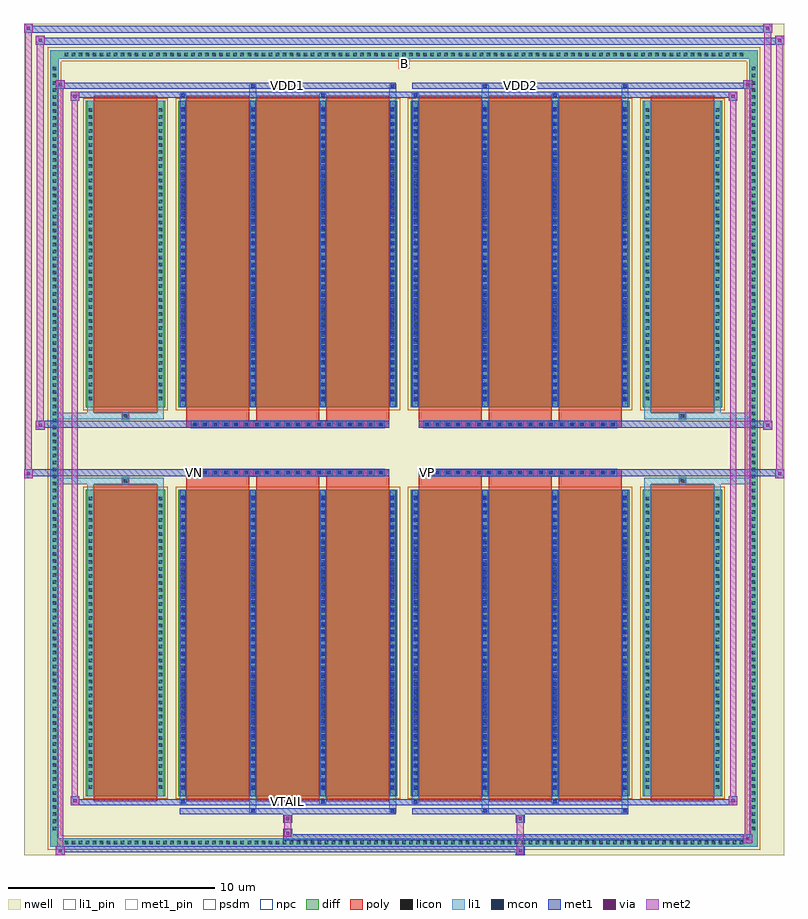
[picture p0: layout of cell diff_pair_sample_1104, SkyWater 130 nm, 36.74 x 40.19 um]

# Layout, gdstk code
import gdstk
lib = gdstk.Library(unit=1e-6, precision=5e-09)
def R(c, l, rs):  # rectangles x0, y0, x1, y1
    for r in rs: c.add(gdstk.rectangle(r[:2], r[2:], *l))
def A(c, l, x, y, w, h, nx, ny, dx, dy):  # array of equal rectangles
    R(c, l, [(x+i*dx, y+j*dy, x+i*dx+w, y+j*dy+h) for i in range(nx) for j in range(ny)])
def P(c, l, *ps):  # polygons
    for p in ps: c.add(gdstk.Polygon(p, *l))
nwell = (64, 20)
diff = (65, 20)
poly = (66, 20)
licon = (66, 44)
li1_pin = (67, 16)
li1 = (67, 20)
mcon = (67, 44)
met1_pin = (68, 16)
met1 = (68, 20)
via = (68, 44)
met2 = (69, 20)
psdm = (94, 20)
npc = (95, 20)

diff_pair_sample_1104 = lib.new_cell('diff_pair_sample_1104')
R(diff_pair_sample_1104, nwell, [(-18.37,-19.66,18.37,20.53), (-15.69,-17.85,-0.01,-0.805), (0.01,-17.85,15.69,-0.805), (-15.69,0.805,-0.01,17.85), (0.01,0.805,15.69,17.85)])
A(diff_pair_sample_1104, diff, -16.525, -19.26, 0.41, 0.41, 97, 2, 0.34, 38.11)
A(diff_pair_sample_1104, diff, -17.1, -18.565, 0.41, 0.41, 1, 109, 0, 0.34)
A(diff_pair_sample_1104, diff, 16.69, -18.565, 0.41, 0.41, 1, 109, 0, 0.34)
R(diff_pair_sample_1104, diff, [(-16.525,-19.26,16.525,-18.85), (-17.1,-18.565,-16.69,18.565), (16.69,-18.565,17.1,18.565), (-15.38,-16.805,-11.55,-1.985), (-10.91,-16.805,-0.32,-1.985), (0.32,-16.805,10.91,-1.985), (11.55,-16.805,15.38,-1.985), (-15.38,1.985,-11.55,16.805), (-10.91,1.985,-0.32,16.805), (0.32,1.985,10.91,16.805), (11.55,1.985,15.38,16.805), (-16.525,18.85,16.525,19.26)])
P(diff_pair_sample_1104, diff, [(17.1,19.26),(-17.1,19.26),(-17.1,-18.85),(-16.69,-18.85),(-16.69,18.85),(16.69,18.85),(16.69,-18.85),(-16.69,-18.85),(-17.1,-18.85),(-17.1,-19.26),(17.1,-19.26)])
A(diff_pair_sample_1104, poly, -10.52, -17.055, 3.05, 15.32, 3, 2, 3.38, 18.79)
A(diff_pair_sample_1104, poly, 0.71, -17.055, 3.05, 15.32, 3, 2, 3.38, 18.79)
A(diff_pair_sample_1104, poly, -10.52, -1.735, 3.05, 0.4, 3, 2, 3.38, 3.07)
A(diff_pair_sample_1104, poly, 0.71, -1.735, 3.05, 0.4, 3, 2, 3.38, 3.07)
A(diff_pair_sample_1104, poly, -10.28, -1.335, 0.33, 0.33, 19, 2, 0.5, 2.34)
A(diff_pair_sample_1104, poly, 0.95, -1.335, 0.33, 0.33, 19, 2, 0.5, 2.34)
R(diff_pair_sample_1104, poly, [(-14.99,-17.055,-11.94,-1.735), (11.94,-17.055,14.99,-1.735), (-13.63,-1.735,-13.3,-1.405), (-13.63,-1.735,-13.3,-1.405), (13.3,-1.735,13.63,-1.405), (13.3,-1.735,13.63,-1.405), (-10.52,-1.335,-0.71,-1.005), (0.71,-1.335,10.52,-1.005), (-10.52,1.005,-0.71,1.335), (0.71,1.005,10.52,1.335), (-13.63,1.405,-13.3,1.735), (-13.63,1.405,-13.3,1.735), (13.3,1.405,13.63,1.735), (13.3,1.405,13.63,1.735), (-14.99,1.735,-11.94,17.055), (11.94,1.735,14.99,17.055)])
A(diff_pair_sample_1104, licon, -16.405, -19.14, 0.17, 0.17, 97, 2, 0.34, 38.11)
A(diff_pair_sample_1104, licon, -16.98, -18.445, 0.17, 0.17, 1, 109, 0, 0.34)
A(diff_pair_sample_1104, licon, 16.81, -18.445, 0.17, 0.17, 1, 109, 0, 0.34)
A(diff_pair_sample_1104, licon, -15.24, -16.45, 0.17, 0.17, 1, 42, 0, 0.34)
A(diff_pair_sample_1104, licon, -11.86, -16.45, 0.17, 0.17, 1, 42, 0, 0.34)
A(diff_pair_sample_1104, licon, -10.77, -16.45, 0.17, 0.17, 4, 42, 3.38, 0.34)
A(diff_pair_sample_1104, licon, 0.46, -16.45, 0.17, 0.17, 4, 42, 3.38, 0.34)
A(diff_pair_sample_1104, licon, 11.69, -16.45, 0.17, 0.17, 1, 42, 0, 0.34)
A(diff_pair_sample_1104, licon, 15.07, -16.45, 0.17, 0.17, 1, 42, 0, 0.34)
A(diff_pair_sample_1104, licon, -10.2, -1.255, 0.17, 0.17, 19, 2, 0.5, 2.34)
A(diff_pair_sample_1104, licon, 1.03, -1.255, 0.17, 0.17, 19, 2, 0.5, 2.34)
A(diff_pair_sample_1104, licon, -15.24, 2.34, 0.17, 0.17, 1, 42, 0, 0.34)
A(diff_pair_sample_1104, licon, -11.86, 2.34, 0.17, 0.17, 1, 42, 0, 0.34)
A(diff_pair_sample_1104, licon, -10.77, 2.34, 0.17, 0.17, 4, 42, 3.38, 0.34)
A(diff_pair_sample_1104, licon, 0.46, 2.34, 0.17, 0.17, 4, 42, 3.38, 0.34)
A(diff_pair_sample_1104, licon, 11.69, 2.34, 0.17, 0.17, 1, 42, 0, 0.34)
A(diff_pair_sample_1104, licon, 15.07, 2.34, 0.17, 0.17, 1, 42, 0, 0.34)
R(diff_pair_sample_1104, licon, [(-13.55,-1.655,-13.38,-1.485), (13.38,-1.655,13.55,-1.485), (-13.55,1.485,-13.38,1.655), (13.38,1.485,13.55,1.655)])
R(diff_pair_sample_1104, li1_pin, [(-0.25,18.35,0.25,18.85)])
A(diff_pair_sample_1104, li1, -16.485, -19.22, 0.33, 0.33, 97, 2, 0.34, 38.11)
A(diff_pair_sample_1104, li1, -17.06, -18.525, 0.33, 0.33, 1, 109, 0, 0.34)
A(diff_pair_sample_1104, li1, 16.73, -18.525, 0.33, 0.33, 1, 109, 0, 0.34)
A(diff_pair_sample_1104, li1, -10.85, -16.805, 0.33, 14.82, 4, 2, 3.38, 18.79)
A(diff_pair_sample_1104, li1, 0.38, -16.805, 0.33, 14.82, 4, 2, 3.38, 18.79)
A(diff_pair_sample_1104, li1, -15.32, -16.53, 0.33, 0.33, 1, 42, 0, 0.34)
A(diff_pair_sample_1104, li1, -11.94, -16.53, 0.33, 0.33, 1, 42, 0, 0.34)
A(diff_pair_sample_1104, li1, -10.85, -16.53, 0.33, 0.33, 4, 42, 3.38, 0.34)
A(diff_pair_sample_1104, li1, 0.38, -16.53, 0.33, 0.33, 4, 42, 3.38, 0.34)
A(diff_pair_sample_1104, li1, 11.61, -16.53, 0.33, 0.33, 1, 42, 0, 0.34)
A(diff_pair_sample_1104, li1, 14.99, -16.53, 0.33, 0.33, 1, 42, 0, 0.34)
A(diff_pair_sample_1104, li1, -10.77, -16.5, 0.17, 0.17, 4, 40, 3.38, 0.36)
A(diff_pair_sample_1104, li1, -10.77, -16.5, 0.17, 14.21, 4, 2, 3.38, 18.79)
A(diff_pair_sample_1104, li1, 0.46, -16.5, 0.17, 0.17, 4, 40, 3.38, 0.36)
A(diff_pair_sample_1104, li1, 0.46, -16.5, 0.17, 14.21, 4, 2, 3.38, 18.79)
A(diff_pair_sample_1104, li1, -10.28, -1.335, 0.33, 0.33, 19, 2, 0.5, 2.34)
A(diff_pair_sample_1104, li1, 0.95, -1.335, 0.33, 0.33, 19, 2, 0.5, 2.34)
A(diff_pair_sample_1104, li1, -15.32, 2.26, 0.33, 0.33, 1, 42, 0, 0.34)
A(diff_pair_sample_1104, li1, -11.94, 2.26, 0.33, 0.33, 1, 42, 0, 0.34)
A(diff_pair_sample_1104, li1, -10.85, 2.26, 0.33, 0.33, 4, 42, 3.38, 0.34)
A(diff_pair_sample_1104, li1, 0.38, 2.26, 0.33, 0.33, 4, 42, 3.38, 0.34)
A(diff_pair_sample_1104, li1, 11.61, 2.26, 0.33, 0.33, 1, 42, 0, 0.34)
A(diff_pair_sample_1104, li1, 14.99, 2.26, 0.33, 0.33, 1, 42, 0, 0.34)
A(diff_pair_sample_1104, li1, -10.77, 2.29, 0.17, 0.17, 4, 40, 3.38, 0.36)
A(diff_pair_sample_1104, li1, 0.46, 2.29, 0.17, 0.17, 4, 40, 3.38, 0.36)
R(diff_pair_sample_1104, li1, [(-17.1,-19.26,-16.69,-18.85), (-17.1,-19.26,-16.69,-18.85), (-16.69,-19.26,16.69,-18.85), (16.69,-19.26,17.1,-18.85), (16.69,-19.26,17.1,-18.85), (-17.1,-18.85,-16.69,18.85), (16.69,-18.85,17.1,18.85), (-7.47,-17.61,-7.14,-16.805), (-7.39,-17.61,-7.22,-17.44), (-0.71,-17.61,-0.38,-16.805), (-0.63,-17.61,-0.46,-17.44), (3.76,-17.61,4.09,-16.805), (3.84,-17.61,4.01,-17.44), (10.52,-17.61,10.85,-16.805), (10.6,-17.61,10.77,-17.44), (-10.85,-17.18,-10.52,-16.805), (-10.77,-17.18,-10.6,-17.01), (-4.09,-17.18,-3.76,-16.805), (-4.01,-17.18,-3.84,-17.01), (0.38,-17.18,0.71,-16.805), (0.46,-17.18,0.63,-17.01), (7.14,-17.18,7.47,-16.805), (7.22,-17.18,7.39,-17.01), (-15.32,-16.805,-14.99,-1.985), (-11.94,-16.805,-11.61,-1.985), (11.61,-16.805,11.94,-1.985), (14.99,-16.805,15.32,-1.985), (-15.32,-1.985,-14.99,-1.405), (-11.94,-1.985,-11.61,-1.405), (11.61,-1.985,11.94,-1.405), (14.99,-1.985,15.32,-1.405), (-17.1,-1.735,-13.63,-1.405), (-15.32,-1.735,-13.63,-1.405), (-13.63,-1.735,-13.3,-1.405), (-13.3,-1.735,-11.61,-1.405), (11.61,-1.735,13.3,-1.405), (13.3,-1.735,13.63,-1.405), (13.3,-1.735,17.1,-1.405), (13.63,-1.735,15.32,-1.405), (-17.1,1.405,-13.63,1.735), (-15.32,1.405,-13.63,1.735), (-15.32,1.405,-14.99,1.985), (-13.63,1.405,-13.3,1.735), (-13.3,1.405,-11.61,1.735), (-11.94,1.405,-11.61,1.985), (11.61,1.405,13.3,1.735), (11.61,1.405,11.94,1.985), (13.3,1.405,13.63,1.735), (13.3,1.405,17.1,1.735), (13.63,1.405,15.32,1.735), (14.99,1.405,15.32,1.985), (-15.32,1.985,-14.99,16.805), (-11.94,1.985,-11.61,16.805), (11.61,1.985,11.94,16.805), (14.99,1.985,15.32,16.805), (-10.85,16.805,-10.52,17.18), (-7.47,16.805,-7.14,17.61), (-4.09,16.805,-3.76,17.18), (-0.71,16.805,-0.38,17.61), (0.38,16.805,0.71,17.18), (3.76,16.805,4.09,17.61), (7.14,16.805,7.47,17.18), (10.52,16.805,10.85,17.61), (-10.77,17.01,-10.6,17.18), (-4.01,17.01,-3.84,17.18), (0.46,17.01,0.63,17.18), (7.22,17.01,7.39,17.18), (-7.39,17.44,-7.22,17.61), (-0.63,17.44,-0.46,17.61), (3.84,17.44,4.01,17.61), (10.6,17.44,10.77,17.61), (-17.1,18.85,-16.69,19.26), (-17.1,18.85,-16.69,19.26), (-16.69,18.85,16.69,19.26), (16.69,18.85,17.1,19.26), (16.69,18.85,17.1,19.26)])
A(diff_pair_sample_1104, mcon, -10.77, -16.5, 0.17, 0.17, 4, 40, 3.38, 0.36)
A(diff_pair_sample_1104, mcon, 0.46, -16.5, 0.17, 0.17, 4, 40, 3.38, 0.36)
A(diff_pair_sample_1104, mcon, -10.2, -1.255, 0.17, 0.17, 19, 2, 0.5, 2.34)
A(diff_pair_sample_1104, mcon, 1.03, -1.255, 0.17, 0.17, 19, 2, 0.5, 2.34)
A(diff_pair_sample_1104, mcon, -10.77, 2.29, 0.17, 0.17, 4, 40, 3.38, 0.36)
A(diff_pair_sample_1104, mcon, 0.46, 2.29, 0.17, 0.17, 4, 40, 3.38, 0.36)
R(diff_pair_sample_1104, mcon, [(-7.39,-17.61,-7.22,-17.44), (-0.63,-17.61,-0.46,-17.44), (3.84,-17.61,4.01,-17.44), (10.6,-17.61,10.77,-17.44), (-10.77,-17.18,-10.6,-17.01), (-4.01,-17.18,-3.84,-17.01), (0.46,-17.18,0.63,-17.01), (7.22,-17.18,7.39,-17.01), (-10.77,17.01,-10.6,17.18), (-4.01,17.01,-3.84,17.18), (0.46,17.01,0.63,17.18), (7.22,17.01,7.39,17.18), (-7.39,17.44,-7.22,17.61), (-0.63,17.44,-0.46,17.61), (3.84,17.44,4.01,17.61), (10.6,17.44,10.77,17.61)])
R(diff_pair_sample_1104, met1_pin, [(-5.75,-17.22,-5.48,-16.95), (-10.25,-1.295,-9.98,-1.025), (0.98,-1.295,1.25,-1.025), (-5.75,17.4,-5.48,17.67), (5.48,17.4,5.75,17.67)])
A(diff_pair_sample_1104, met1, -10.83, -16.805, 0.29, 14.82, 4, 2, 3.38, 18.79)
A(diff_pair_sample_1104, met1, 0.4, -16.805, 0.29, 14.82, 4, 2, 3.38, 18.79)
A(diff_pair_sample_1104, met1, -10.83, -16.56, 0.29, 0.29, 4, 40, 3.38, 0.36)
A(diff_pair_sample_1104, met1, 0.4, -16.56, 0.29, 0.29, 4, 40, 3.38, 0.36)
A(diff_pair_sample_1104, met1, -10.26, -1.315, 0.29, 0.29, 19, 2, 0.5, 2.34)
A(diff_pair_sample_1104, met1, 0.97, -1.315, 0.29, 0.29, 19, 2, 0.5, 2.34)
A(diff_pair_sample_1104, met1, -10.83, 2.23, 0.29, 0.29, 4, 40, 3.38, 0.36)
A(diff_pair_sample_1104, met1, 0.4, 2.23, 0.29, 0.29, 4, 40, 3.38, 0.36)
R(diff_pair_sample_1104, met1, [(-16.83,-19.66,-16.4,-19.23), (5.4,-19.66,5.83,-19.23), (-16.83,-19.52,5.83,-19.23), (16.4,-19.09,16.83,-18.66), (-5.83,-18.95,16.83,-18.66), (-5.83,-18.81,-5.4,-18.38), (-5.83,-18.1,-5.4,-17.67), (5.4,-18.1,5.83,-17.67), (-10.83,-17.67,-0.4,-17.38), (-7.45,-17.67,-7.16,-17.38), (-0.69,-17.67,-0.4,-17.38), (0.4,-17.67,10.83,-17.38), (3.78,-17.67,4.07,-17.38), (10.54,-17.67,10.83,-17.38), (-16.12,-17.24,-15.69,-16.81), (-16.12,-17.24,-10.83,-16.95), (-10.83,-17.24,-10.54,-16.95), (-10.83,-17.24,-0.4,-16.95), (-4.07,-17.24,-3.78,-16.95), (-0.4,-17.24,0.4,-16.95), (0.4,-17.24,0.69,-16.95), (0.4,-17.24,10.83,-16.95), (7.16,-17.24,7.45,-16.95), (10.83,-17.24,16.12,-16.95), (15.69,-17.24,16.12,-16.81), (-18.37,-1.435,-17.94,-1.005), (17.94,-1.435,18.37,-1.005), (-18.37,-1.335,-0.71,-1.005), (-10.52,-1.335,-0.71,-1.005), (0.71,-1.335,10.52,-1.005), (0.71,-1.335,18.37,-1.005), (-17.8,0.905,-17.37,1.335), (17.37,0.905,17.8,1.335), (-17.8,1.005,-10.52,1.335), (-10.52,1.005,-0.71,1.335), (0.71,1.005,10.52,1.335), (10.52,1.005,17.8,1.335), (-16.12,16.81,-15.69,17.24), (15.69,16.81,16.12,17.24), (-16.12,16.95,-10.83,17.24), (-10.83,16.95,-10.54,17.24), (-10.83,16.95,-0.4,17.24), (-4.07,16.95,-3.78,17.24), (-0.4,16.95,0.4,17.24), (0.4,16.95,0.69,17.24), (0.4,16.95,10.83,17.24), (7.16,16.95,7.45,17.24), (10.83,16.95,16.12,17.24), (-16.83,17.38,-16.4,17.81), (-16.83,17.38,-10.83,17.67), (-10.83,17.38,-0.4,17.67), (-7.45,17.38,-7.16,17.67), (-0.69,17.38,-0.4,17.67), (0.4,17.38,10.83,17.67), (3.78,17.38,4.07,17.67), (10.54,17.38,10.83,17.67), (10.83,17.38,16.83,17.67), (16.4,17.38,16.83,17.81), (-17.8,19.53,-17.37,19.96), (-17.8,19.53,-15.69,19.86), (-15.69,19.53,15.69,19.86), (15.69,19.53,18.37,19.86), (17.94,19.53,18.37,19.96), (-18.37,20.1,-17.94,20.53), (-18.37,20.1,-15.69,20.43), (-15.69,20.1,15.69,20.43), (15.69,20.1,17.8,20.43), (17.37,20.1,17.8,20.53)])
R(diff_pair_sample_1104, via, [(-16.69,-19.52,-16.54,-19.37), (5.54,-19.52,5.69,-19.37), (16.54,-18.95,16.69,-18.8), (-5.69,-18.67,-5.54,-18.52), (-5.69,-17.96,-5.54,-17.81), (5.54,-17.96,5.69,-17.81), (-15.98,-17.1,-15.83,-16.95), (15.83,-17.1,15.98,-16.95), (-18.23,-1.295,-18.08,-1.145), (18.08,-1.295,18.23,-1.145), (-17.66,1.045,-17.51,1.195), (17.51,1.045,17.66,1.195), (-15.98,16.95,-15.83,17.1), (15.83,16.95,15.98,17.1), (-16.69,17.52,-16.54,17.67), (16.54,17.52,16.69,17.67), (-17.66,19.67,-17.51,19.82), (18.08,19.67,18.23,19.82), (-18.23,20.24,-18.08,20.39), (17.51,20.24,17.66,20.39)])
R(diff_pair_sample_1104, met2, [(-16.83,-19.66,-16.4,-19.23), (-16.76,-19.66,-16.47,17.81), (-16.47,-19.66,-16.4,-19.23), (-16.78,-19.61,-16.45,-19.28), (5.45,-19.61,5.78,-19.28), (5.45,-19.28,5.78,-18.05), (16.4,-19.09,16.83,-18.66), (16.47,-19.09,16.76,17.81), (16.76,-19.09,16.83,-18.66), (16.45,-19.04,16.78,-18.71), (-5.78,-18.76,-5.45,-18.43), (-5.78,-18.43,-5.45,-18.05), (-5.78,-18.05,-5.45,-17.72), (5.45,-18.05,5.78,-17.72), (-16.12,-17.24,-15.69,-16.81), (-16.05,-17.24,-15.76,17.24), (-15.76,-17.24,-15.69,-16.81), (15.69,-17.24,16.12,-16.81), (15.76,-17.24,16.05,17.24), (16.05,-17.24,16.12,-16.81), (-16.07,-17.19,-15.74,-16.86), (15.74,-17.19,16.07,-16.86), (-18.37,-1.435,-17.94,-1.005), (-18.32,-1.435,-17.99,20.53), (-17.99,-1.435,-17.94,-1.005), (17.94,-1.435,18.37,-1.005), (17.99,-1.435,18.32,19.96), (18.32,-1.435,18.37,-1.005), (-18.32,-1.385,-17.99,-1.055), (17.99,-1.385,18.32,-1.055), (-17.8,0.905,-17.37,1.335), (-17.75,0.905,-17.42,19.96), (-17.42,0.905,-17.37,1.335), (17.37,0.905,17.8,1.335), (17.42,0.905,17.75,20.53), (17.75,0.905,17.8,1.335), (-17.75,0.955,-17.42,1.285), (17.42,0.955,17.75,1.285), (-16.12,16.81,-15.69,17.24), (-15.76,16.81,-15.69,17.24), (15.69,16.81,16.12,17.24), (16.05,16.81,16.12,17.24), (-16.07,16.86,-15.74,17.19), (15.74,16.86,16.07,17.19), (-16.83,17.38,-16.4,17.81), (-16.47,17.38,-16.4,17.81), (16.4,17.38,16.83,17.81), (16.76,17.38,16.83,17.81), (-16.78,17.43,-16.45,17.76), (16.45,17.43,16.78,17.76), (-17.8,19.53,-17.37,19.96), (-17.42,19.53,-17.37,19.96), (17.94,19.53,18.37,19.96), (18.32,19.53,18.37,19.96), (-17.75,19.58,-17.42,19.91), (17.99,19.58,18.32,19.91), (-18.37,20.1,-17.94,20.53), (-17.99,20.1,-17.94,20.53), (17.37,20.1,17.8,20.53), (17.75,20.1,17.8,20.53), (-18.32,20.15,-17.99,20.48), (17.42,20.15,17.75,20.48)])
R(diff_pair_sample_1104, psdm, [(-15.51,-16.935,-11.42,-1.855), (-11.04,-16.935,-0.19,-1.855), (0.19,-16.935,11.04,-1.855), (11.42,-16.935,15.51,-1.855), (-15.51,1.855,-11.42,16.935), (-11.04,1.855,-0.19,16.935), (0.19,1.855,11.04,16.935), (11.42,1.855,15.51,16.935)])
P(diff_pair_sample_1104, psdm, [(17.23,19.39),(-17.23,19.39),(-17.23,-18.72),(-16.56,-18.72),(-16.56,18.72),(16.56,18.72),(16.56,-18.72),(-16.56,-18.72),(-17.23,-18.72),(-17.23,-19.39),(17.23,-19.39)])
A(diff_pair_sample_1104, npc, -10.3, -1.355, 0.37, 0.37, 19, 2, 0.5, 2.34)
A(diff_pair_sample_1104, npc, 0.93, -1.355, 0.37, 0.37, 19, 2, 0.5, 2.34)
R(diff_pair_sample_1104, npc, [(-13.65,-1.755,-13.28,-1.385), (13.28,-1.755,13.65,-1.385), (-10.3,-1.355,-9.43,-0.985), (-10.3,-1.355,-9.43,-0.985), (-9.8,-1.355,-8.93,-0.985), (-9.8,-1.355,-8.93,-0.985), (-9.3,-1.355,-8.43,-0.985), (-9.3,-1.355,-8.43,-0.985), (-8.8,-1.355,-7.93,-0.985), (-8.8,-1.355,-7.93,-0.985), (-8.3,-1.355,-7.43,-0.985), (-8.3,-1.355,-7.43,-0.985), (-7.8,-1.355,-6.93,-0.985), (-7.8,-1.355,-6.93,-0.985), (-7.3,-1.355,-6.43,-0.985), (-7.3,-1.355,-6.43,-0.985), (-6.8,-1.355,-5.93,-0.985), (-6.8,-1.355,-5.93,-0.985), (-6.3,-1.355,-5.43,-0.985), (-6.3,-1.355,-5.43,-0.985), (-5.8,-1.355,-4.93,-0.985), (-5.8,-1.355,-4.93,-0.985), (-5.3,-1.355,-4.43,-0.985), (-5.3,-1.355,-4.43,-0.985), (-4.8,-1.355,-3.93,-0.985), (-4.8,-1.355,-3.93,-0.985), (-4.3,-1.355,-3.43,-0.985), (-4.3,-1.355,-3.43,-0.985), (-3.8,-1.355,-2.93,-0.985), (-3.8,-1.355,-2.93,-0.985), (-3.3,-1.355,-2.43,-0.985), (-3.3,-1.355,-2.43,-0.985), (-2.8,-1.355,-1.93,-0.985), (-2.8,-1.355,-1.93,-0.985), (-2.3,-1.355,-1.43,-0.985), (-2.3,-1.355,-1.43,-0.985), (-1.8,-1.355,-0.93,-0.985), (-1.8,-1.355,-0.93,-0.985), (0.93,-1.355,1.8,-0.985), (0.93,-1.355,1.8,-0.985), (1.43,-1.355,2.3,-0.985), (1.43,-1.355,2.3,-0.985), (1.93,-1.355,2.8,-0.985), (1.93,-1.355,2.8,-0.985), (2.43,-1.355,3.3,-0.985), (2.43,-1.355,3.3,-0.985), (2.93,-1.355,3.8,-0.985), (2.93,-1.355,3.8,-0.985), (3.43,-1.355,4.3,-0.985), (3.43,-1.355,4.3,-0.985), (3.93,-1.355,4.8,-0.985), (3.93,-1.355,4.8,-0.985), (4.43,-1.355,5.3,-0.985), (4.43,-1.355,5.3,-0.985), (4.93,-1.355,5.8,-0.985), (4.93,-1.355,5.8,-0.985), (5.43,-1.355,6.3,-0.985), (5.43,-1.355,6.3,-0.985), (5.93,-1.355,6.8,-0.985), (5.93,-1.355,6.8,-0.985), (6.43,-1.355,7.3,-0.985), (6.43,-1.355,7.3,-0.985), (6.93,-1.355,7.8,-0.985), (6.93,-1.355,7.8,-0.985), (7.43,-1.355,8.3,-0.985), (7.43,-1.355,8.3,-0.985), (7.93,-1.355,8.8,-0.985), (7.93,-1.355,8.8,-0.985), (8.43,-1.355,9.3,-0.985), (8.43,-1.355,9.3,-0.985), (8.93,-1.355,9.8,-0.985), (8.93,-1.355,9.8,-0.985), (9.43,-1.355,10.3,-0.985), (9.43,-1.355,10.3,-0.985), (-10.3,0.985,-9.43,1.355), (-10.3,0.985,-9.43,1.355), (-9.8,0.985,-8.93,1.355), (-9.8,0.985,-8.93,1.355), (-9.3,0.985,-8.43,1.355), (-9.3,0.985,-8.43,1.355), (-8.8,0.985,-7.93,1.355), (-8.8,0.985,-7.93,1.355), (-8.3,0.985,-7.43,1.355), (-8.3,0.985,-7.43,1.355), (-7.8,0.985,-6.93,1.355), (-7.8,0.985,-6.93,1.355), (-7.3,0.985,-6.43,1.355), (-7.3,0.985,-6.43,1.355), (-6.8,0.985,-5.93,1.355), (-6.8,0.985,-5.93,1.355), (-6.3,0.985,-5.43,1.355), (-6.3,0.985,-5.43,1.355), (-5.8,0.985,-4.93,1.355), (-5.8,0.985,-4.93,1.355), (-5.3,0.985,-4.43,1.355), (-5.3,0.985,-4.43,1.355), (-4.8,0.985,-3.93,1.355), (-4.8,0.985,-3.93,1.355), (-4.3,0.985,-3.43,1.355), (-4.3,0.985,-3.43,1.355), (-3.8,0.985,-2.93,1.355), (-3.8,0.985,-2.93,1.355), (-3.3,0.985,-2.43,1.355), (-3.3,0.985,-2.43,1.355), (-2.8,0.985,-1.93,1.355), (-2.8,0.985,-1.93,1.355), (-2.3,0.985,-1.43,1.355), (-2.3,0.985,-1.43,1.355), (-1.8,0.985,-0.93,1.355), (-1.8,0.985,-0.93,1.355), (0.93,0.985,1.8,1.355), (0.93,0.985,1.8,1.355), (1.43,0.985,2.3,1.355), (1.43,0.985,2.3,1.355), (1.93,0.985,2.8,1.355), (1.93,0.985,2.8,1.355), (2.43,0.985,3.3,1.355), (2.43,0.985,3.3,1.355), (2.93,0.985,3.8,1.355), (2.93,0.985,3.8,1.355), (3.43,0.985,4.3,1.355), (3.43,0.985,4.3,1.355), (3.93,0.985,4.8,1.355), (3.93,0.985,4.8,1.355), (4.43,0.985,5.3,1.355), (4.43,0.985,5.3,1.355), (4.93,0.985,5.8,1.355), (4.93,0.985,5.8,1.355), (5.43,0.985,6.3,1.355), (5.43,0.985,6.3,1.355), (5.93,0.985,6.8,1.355), (5.93,0.985,6.8,1.355), (6.43,0.985,7.3,1.355), (6.43,0.985,7.3,1.355), (6.93,0.985,7.8,1.355), (6.93,0.985,7.8,1.355), (7.43,0.985,8.3,1.355), (7.43,0.985,8.3,1.355), (7.93,0.985,8.8,1.355), (7.93,0.985,8.8,1.355), (8.43,0.985,9.3,1.355), (8.43,0.985,9.3,1.355), (8.93,0.985,9.8,1.355), (8.93,0.985,9.8,1.355), (9.43,0.985,10.3,1.355), (9.43,0.985,10.3,1.355), (-13.65,1.385,-13.28,1.755), (13.28,1.385,13.65,1.755)])
diff_pair_sample_1104.add(gdstk.Label('VTAIL', (-5.615,-17.085), layer=68, texttype=5))
diff_pair_sample_1104.add(gdstk.Label('VN', (-10.115,-1.16), layer=68, texttype=5))
diff_pair_sample_1104.add(gdstk.Label('VP', (1.115,-1.16), layer=68, texttype=5))
diff_pair_sample_1104.add(gdstk.Label('B', (0,18.6), layer=67, texttype=5))
diff_pair_sample_1104.add(gdstk.Label('VDD2', (5.615,17.535), layer=68, texttype=5))
diff_pair_sample_1104.add(gdstk.Label('VDD1', (-5.615,17.535), layer=68, texttype=5))

lib.write_gds('diff_pair_sample_1104.gds')
